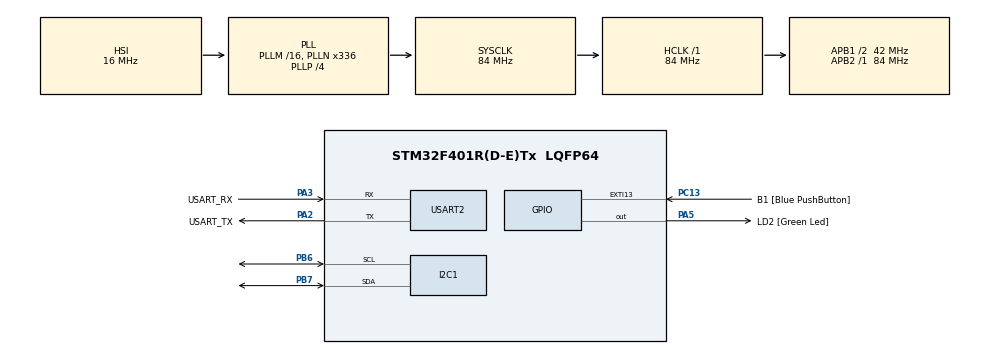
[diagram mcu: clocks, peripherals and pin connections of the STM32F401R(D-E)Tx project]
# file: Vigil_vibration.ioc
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Mcu.Family=STM32F4
Mcu.Name=STM32F401R(D-E)Tx
Mcu.Package=LQFP64
NVIC.PriorityGroup=NVIC_PRIORITYGROUP_4
PA13.GPIO_Label=TMS
PA13.Mode=Trace_Asynchronous_SW
PA13.Signal=SYS_JTMS-SWDIO
PA14.GPIO_Label=TCK
PA14.Mode=Trace_Asynchronous_SW
PA14.Signal=SYS_JTCK-SWCLK
PA2.GPIO_Label=USART_TX
PA2.GPIO_Mode=GPIO_MODE_AF_PP
PA2.GPIO_PuPd=GPIO_NOPULL
PA2.GPIO_Speed=GPIO_SPEED_FREQ_LOW
PA2.Mode=Asynchronous
PA2.Signal=USART2_TX
PA3.GPIO_Label=USART_RX
PA3.GPIO_Mode=GPIO_MODE_AF_PP
PA3.GPIO_PuPd=GPIO_NOPULL
PA3.GPIO_Speed=GPIO_SPEED_FREQ_LOW
PA3.Mode=Asynchronous
PA3.Signal=USART2_RX
PA5.GPIO_Label=LD2 [Green Led]
PA5.GPIO_Mode=GPIO_MODE_OUTPUT_PP
PA5.GPIO_PuPd=GPIO_NOPULL
PA5.GPIO_Speed=GPIO_SPEED_FREQ_LOW
PA5.Signal=GPIO_Output
PB3.GPIO_Label=SWO
PB3.Mode=Trace_Asynchronous_SW
PB3.Signal=SYS_JTDO-SWO
PB6.Mode=I2C
PB6.Signal=I2C1_SCL
PB7.Mode=I2C
PB7.Signal=I2C1_SDA
PC13-ANTI_TAMP.GPIO_Label=B1 [Blue PushButton]
PC13-ANTI_TAMP.GPIO_ModeDefaultEXTI=GPIO_MODE_IT_FALLING
PC13-ANTI_TAMP.GPIO_PuPd=GPIO_NOPULL
PC13-ANTI_TAMP.Signal=GPXTI13
PC14-OSC32_IN.Mode=LSE-External-Oscillator
PC14-OSC32_IN.Signal=RCC_OSC32_IN
PC15-OSC32_OUT.Mode=LSE-External-Oscillator
PC15-OSC32_OUT.Signal=RCC_OSC32_OUT
PH0\ -\ OSC_IN.Mode=HSE-External-Clock-Source
PH0\ -\ OSC_IN.Signal=RCC_OSC_IN
PH1\ -\ OSC_OUT.Mode=HSE-External-Clock-Source
PH1\ -\ OSC_OUT.Signal=RCC_OSC_OUT
ProjectManager.HeapSize=0x200
ProjectManager.StackSize=0x400
ProjectManager.TargetToolchain=EWARM V8.50
RCC.48MHZClocksFreq_Value=48000000
RCC.AHBFreq_Value=84000000
RCC.APB1CLKDivider=RCC_HCLK_DIV2
RCC.APB1Freq_Value=42000000
RCC.APB1TimFreq_Value=84000000
RCC.APB2Freq_Value=84000000
RCC.APB2TimFreq_Value=84000000
RCC.CortexFreq_Value=84000000
RCC.HCLKFreq_Value=84000000
RCC.HSE_VALUE=8000000
RCC.HSI_VALUE=16000000
RCC.PLLN=336
RCC.PLLP=RCC_PLLP_DIV4
RCC.PLLQ=7
RCC.SYSCLKFreq_VALUE=84000000
RCC.SYSCLKSource=RCC_SYSCLKSOURCE_PLLCLK
RCC.VCOOutputFreq_Value=336000000
USART2.VirtualMode=VM_ASYNC
board=NUCLEO-F401RE

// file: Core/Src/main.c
/* USER CODE BEGIN Header */
/**
  ******************************************************************************
  * @file           : main.c
  * @brief          : Main program body
  ******************************************************************************
  * @attention
  *
  * Copyright (c) 2026 STMicroelectronics.
  * All rights reserved.
  *
  * This software is licensed under terms that can be found in the LICENSE file
  * in the root directory of this software component.
  * If no LICENSE file comes with this software, it is provided AS-IS.
  *
  ******************************************************************************
  */
/* USER CODE END Header */
#include "main.h"
#include <stdio.h>
#include <string.h>
/* USER CODE BEGIN Includes */
#define ADXL345_ADDR (0x53 << 1)

uint8_t buffer[6];
uint8_t data;
char tx[64];

int16_t x, y, z;

/* USER CODE END Includes */

I2C_HandleTypeDef hi2c1;

UART_HandleTypeDef huart2;

void SystemClock_Config(void);
static void MX_GPIO_Init(void);
static void MX_I2C1_Init(void);
static void MX_USART2_UART_Init(void);

int main(void)
{

  /* MCU Configuration--------------------------------------------------------*/

  /* Reset of all peripherals, Initializes the Flash interface and the Systick. */
  HAL_Init();

  /* Configure the system clock */
  SystemClock_Config();

  /* Initialize all configured peripherals */
  MX_GPIO_Init();
  MX_I2C1_Init();
  MX_USART2_UART_Init();
  /* USER CODE BEGIN 2 */
  HAL_StatusTypeDef status;

  char msg[] = "BOOT OK\r\n";

  status = HAL_UART_Transmit(&huart2,
                             (uint8_t*)msg,
                             sizeof(msg)-1,
                             1000);

  if(status != HAL_OK)
  {
      HAL_GPIO_WritePin(GPIOA, GPIO_PIN_5, GPIO_PIN_SET);

      while(1);
  }
  // POWER_CTL = 0x2D
  data = 0x08;   // Measurement mode
  HAL_I2C_Mem_Write(&hi2c1,
                    ADXL345_ADDR,
                    0x2D,
                    I2C_MEMADD_SIZE_8BIT,
                    &data,
                    1,
                    HAL_MAX_DELAY);

  // DATA_FORMAT = 0x31
  data = 0x08;   // Full Resolution ±2g
  HAL_I2C_Mem_Write(&hi2c1,
                    ADXL345_ADDR,
                    0x31,
                    I2C_MEMADD_SIZE_8BIT,
                    &data,
                    1,
                    HAL_MAX_DELAY);

  sprintf(tx,"ADXL345 Ready\r\n");
  HAL_UART_Transmit(&huart2,(uint8_t*)tx,strlen(tx),HAL_MAX_DELAY);
  /* USER CODE END 2 */

  /* Infinite loop */
  /* USER CODE BEGIN WHILE */
  while (1)
  {
	    HAL_GPIO_TogglePin(GPIOA, GPIO_PIN_5);

	    char msg[] = "HELLO\r\n";

	    HAL_UART_Transmit(&huart2,
	                      (uint8_t*)msg,
	                      strlen(msg),
	                      HAL_MAX_DELAY);

	    HAL_Delay(1000);
  }
  /* USER CODE END 3 */
}

void SystemClock_Config(void)
{
  RCC_OscInitTypeDef RCC_OscInitStruct = {0};
  RCC_ClkInitTypeDef RCC_ClkInitStruct = {0};

  /** Configure the main internal regulator output voltage
  */
  __HAL_RCC_PWR_CLK_ENABLE();
  __HAL_PWR_VOLTAGESCALING_CONFIG(PWR_REGULATOR_VOLTAGE_SCALE2);

  /** Initializes the RCC Oscillators according to the specified parameters
  * in the RCC_OscInitTypeDef structure.
  */
  RCC_OscInitStruct.OscillatorType = RCC_OSCILLATORTYPE_HSI;
  RCC_OscInitStruct.HSIState = RCC_HSI_ON;
  RCC_OscInitStruct.HSICalibrationValue = RCC_HSICALIBRATION_DEFAULT;
  RCC_OscInitStruct.PLL.PLLState = RCC_PLL_ON;
  RCC_OscInitStruct.PLL.PLLSource = RCC_PLLSOURCE_HSI;
  RCC_OscInitStruct.PLL.PLLM = 16;
  RCC_OscInitStruct.PLL.PLLN = 336;
  RCC_OscInitStruct.PLL.PLLP = RCC_PLLP_DIV4;
  RCC_OscInitStruct.PLL.PLLQ = 7;
  if (HAL_RCC_OscConfig(&RCC_OscInitStruct) != HAL_OK)
  {
    Error_Handler();
  }

  /** Initializes the CPU, AHB and APB buses clocks
  */
  RCC_ClkInitStruct.ClockType = RCC_CLOCKTYPE_HCLK|RCC_CLOCKTYPE_SYSCLK
                              |RCC_CLOCKTYPE_PCLK1|RCC_CLOCKTYPE_PCLK2;
  RCC_ClkInitStruct.SYSCLKSource = RCC_SYSCLKSOURCE_PLLCLK;
  RCC_ClkInitStruct.AHBCLKDivider = RCC_SYSCLK_DIV1;
  RCC_ClkInitStruct.APB1CLKDivider = RCC_HCLK_DIV2;
  RCC_ClkInitStruct.APB2CLKDivider = RCC_HCLK_DIV1;

  if (HAL_RCC_ClockConfig(&RCC_ClkInitStruct, FLASH_LATENCY_2) != HAL_OK)
  {
    Error_Handler();
  }
}

/**
  * @brief I2C1 Initialization Function
  * @param None
  * @retval None
  *//* USER CODE BEGIN Header */
/**
  ******************************************************************************
  * @file           : main.c
  * @brief          : Main program body
  ******************************************************************************
  * @attention
  *
  * Copyright (c) 2026 STMicroelectronics.
  * All rights reserved.
  *
  * This software is licensed under terms that can be found in the LICENSE file
  * in the root directory of this software component.
  * If no LICENSE file comes with this software, it is provided AS-IS.
  *
  ******************************************************************************
  */
/* USER CODE END Header */
#include "main.h"
#include <stdio.h>
#include <string.h>
/* USER CODE BEGIN Includes */
#define ADXL345_ADDR (0x53 << 1)

uint8_t buffer[6];
uint8_t data;
char tx[64];

int16_t x, y, z;

/* USER CODE END Includes */

I2C_HandleTypeDef hi2c1;

UART_HandleTypeDef huart2;

void SystemClock_Config(void);
static void MX_GPIO_Init(void);
static void MX_I2C1_Init(void);
static void MX_USART2_UART_Init(void);

int main(void)
{

  /* MCU Configuration--------------------------------------------------------*/

  /* Reset of all peripherals, Initializes the Flash interface and the Systick. */
  HAL_Init();

  /* Configure the system clock */
  SystemClock_Config();

  /* Initialize all configured peripherals */
  MX_GPIO_Init();
  MX_I2C1_Init();
  MX_USART2_UART_Init();
  /* USER CODE BEGIN 2 */
  HAL_StatusTypeDef status;

  char msg[] = "BOOT OK\r\n";
  status = HAL_UART_Transmit(&huart2, (uint8_t*)msg, sizeof(msg) - 1, 1000);
  if (status != HAL_OK)
  {
    HAL_GPIO_WritePin(GPIOA, GPIO_PIN_5, GPIO_PIN_SET);
    while (1) {}
  }

  /* ADXL345: set data rate to 3200 Hz (DATA_RATE = 0x0F). */
  data = 0x0F;
  if (HAL_I2C_Mem_Write(&hi2c1, ADXL345_ADDR, 0x2C,
                        I2C_MEMADD_SIZE_8BIT, &data, 1, 100) != HAL_OK)
  {
    snprintf(tx, sizeof(tx), "ADXL345 data-rate write failed\r\n");
    HAL_UART_Transmit(&huart2, (uint8_t*)tx, strlen(tx), 1000);
  }

  /* POWER_CTL = 0x08: measurement mode. */
  data = 0x08;
  if (HAL_I2C_Mem_Write(&hi2c1, ADXL345_ADDR, 0x2D,
                        I2C_MEMADD_SIZE_8BIT, &data, 1, 100) != HAL_OK)
  {
    snprintf(tx, sizeof(tx), "ADXL345 power-control write failed\r\n");
    HAL_UART_Transmit(&huart2, (uint8_t*)tx, strlen(tx), 1000);
  }

  /* DATA_FORMAT = 0x08: full resolution, +/-2 g. */
  data = 0x08;
  if (HAL_I2C_Mem_Write(&hi2c1, ADXL345_ADDR, 0x31,
                        I2C_MEMADD_SIZE_8BIT, &data, 1, 100) != HAL_OK)
  {
    snprintf(tx, sizeof(tx), "ADXL345 data-format write failed\r\n");
    HAL_UART_Transmit(&huart2, (uint8_t*)tx, strlen(tx), 1000);
  }

  snprintf(tx, sizeof(tx), "ADXL345 Ready\r\n");
  HAL_UART_Transmit(&huart2, (uint8_t*)tx, strlen(tx), 1000);
  /* USER CODE END 2 */

  /* Infinite loop */
  /* USER CODE BEGIN WHILE */
  while (1)
  {
    /*
     * Read 6 bytes beginning at DATAX0 (0x32).
     * HAL_I2C_Mem_Read performs the register-address write and repeated-start read.
     */
    status = HAL_I2C_Mem_Read(&hi2c1, ADXL345_ADDR, 0x32,
                              I2C_MEMADD_SIZE_8BIT, buffer, 6, 100);

    if (status == HAL_OK)
    {
      x = (int16_t)((uint16_t)buffer[0] | ((uint16_t)buffer[1] << 8));
      y = (int16_t)((uint16_t)buffer[2] | ((uint16_t)buffer[3] << 8));
      z = (int16_t)((uint16_t)buffer[4] | ((uint16_t)buffer[5] << 8));

      snprintf(tx, sizeof(tx), "%d,%d,%d\r\n", (int)x, (int)y, (int)z);
      HAL_UART_Transmit(&huart2, (uint8_t*)tx, strlen(tx), 100);
    }
    else
    {
      /* Report an I2C failure occasionally rather than silently hanging. */
      snprintf(tx, sizeof(tx), "I2C read error: %d\r\n", (int)status);
      HAL_UART_Transmit(&huart2, (uint8_t*)tx, strlen(tx), 100);
      HAL_Delay(10);
    }

    /*
     * This delay is only an approximate pacing delay. It does not guarantee
     * a 1 kHz sample rate; use a timer/interrupt or timer-triggered DMA for that.
     */
    HAL_Delay(1);
  }
  /* USER CODE END 3 */
}

void SystemClock_Config(void)
{
  RCC_OscInitTypeDef RCC_OscInitStruct = {0};
  RCC_ClkInitTypeDef RCC_ClkInitStruct = {0};

  /** Configure the main internal regulator output voltage
  */
  __HAL_RCC_PWR_CLK_ENABLE();
  __HAL_PWR_VOLTAGESCALING_CONFIG(PWR_REGULATOR_VOLTAGE_SCALE2);

  /** Initializes the RCC Oscillators according to the specified parameters
  * in the RCC_OscInitTypeDef structure.
  */
  RCC_OscInitStruct.OscillatorType = RCC_OSCILLATORTYPE_HSI;
  RCC_OscInitStruct.HSIState = RCC_HSI_ON;
  RCC_OscInitStruct.HSICalibrationValue = RCC_HSICALIBRATION_DEFAULT;
  RCC_OscInitStruct.PLL.PLLState = RCC_PLL_ON;
  RCC_OscInitStruct.PLL.PLLSource = RCC_PLLSOURCE_HSI;
  RCC_OscInitStruct.PLL.PLLM = 16;
  RCC_OscInitStruct.PLL.PLLN = 336;
  RCC_OscInitStruct.PLL.PLLP = RCC_PLLP_DIV4;
  RCC_OscInitStruct.PLL.PLLQ = 7;
  if (HAL_RCC_OscConfig(&RCC_OscInitStruct) != HAL_OK)
  {
    Error_Handler();
  }

  /** Initializes the CPU, AHB and APB buses clocks
  */
  RCC_ClkInitStruct.ClockType = RCC_CLOCKTYPE_HCLK|RCC_CLOCKTYPE_SYSCLK
                              |RCC_CLOCKTYPE_PCLK1|RCC_CLOCKTYPE_PCLK2;
  RCC_ClkInitStruct.SYSCLKSource = RCC_SYSCLKSOURCE_PLLCLK;
  RCC_ClkInitStruct.AHBCLKDivider = RCC_SYSCLK_DIV1;
  RCC_ClkInitStruct.APB1CLKDivider = RCC_HCLK_DIV2;
  RCC_ClkInitStruct.APB2CLKDivider = RCC_HCLK_DIV1;

  if (HAL_RCC_ClockConfig(&RCC_ClkInitStruct, FLASH_LATENCY_2) != HAL_OK)
  {
    Error_Handler();
  }
}

static void MX_I2C1_Init(void)
{

  hi2c1.Instance = I2C1;
  hi2c1.Init.ClockSpeed = 100000;
  hi2c1.Init.DutyCycle = I2C_DUTYCYCLE_2;
  hi2c1.Init.OwnAddress1 = 0;
  hi2c1.Init.AddressingMode = I2C_ADDRESSINGMODE_7BIT;
  hi2c1.Init.DualAddressMode = I2C_DUALADDRESS_DISABLE;
  hi2c1.Init.OwnAddress2 = 0;
  hi2c1.Init.GeneralCallMode = I2C_GENERALCALL_DISABLE;
  hi2c1.Init.NoStretchMode = I2C_NOSTRETCH_DISABLE;
  if (HAL_I2C_Init(&hi2c1) != HAL_OK)
  {
    Error_Handler();
  }

}

static void MX_USART2_UART_Init(void)
{

  huart2.Instance = USART2;
  huart2.Init.BaudRate = 115200;
  huart2.Init.WordLength = UART_WORDLENGTH_8B;
  huart2.Init.StopBits = UART_STOPBITS_1;
  huart2.Init.Parity = UART_PARITY_NONE;
  huart2.Init.Mode = UART_MODE_TX_RX;
  huart2.Init.HwFlowCtl = UART_HWCONTROL_NONE;
  huart2.Init.OverSampling = UART_OVERSAMPLING_16;
  if (HAL_UART_Init(&huart2) != HAL_OK)
  {
    Error_Handler();
  }

}

static void MX_GPIO_Init(void)
{
  GPIO_InitTypeDef GPIO_InitStruct = {0};

  /* GPIO Ports Clock Enable */
  __HAL_RCC_GPIOC_CLK_ENABLE();
  __HAL_RCC_GPIOH_CLK_ENABLE();
  __HAL_RCC_GPIOA_CLK_ENABLE();
  __HAL_RCC_GPIOB_CLK_ENABLE();

  /*Configure GPIO pin Output Level */
  HAL_GPIO_WritePin(LD2_GPIO_Port, LD2_Pin, GPIO_PIN_RESET);

  /*Configure GPIO pin : B1_Pin */
  GPIO_InitStruct.Pin = B1_Pin;
  GPIO_InitStruct.Mode = GPIO_MODE_IT_FALLING;
  GPIO_InitStruct.Pull = GPIO_NOPULL;
  HAL_GPIO_Init(B1_GPIO_Port, &GPIO_InitStruct);

  /*Configure GPIO pin : LD2_Pin */
  GPIO_InitStruct.Pin = LD2_Pin;
  GPIO_InitStruct.Mode = GPIO_MODE_OUTPUT_PP;
  GPIO_InitStruct.Pull = GPIO_NOPULL;
  GPIO_InitStruct.Speed = GPIO_SPEED_FREQ_LOW;
  HAL_GPIO_Init(LD2_GPIO_Port, &GPIO_InitStruct);

}

void Error_Handler(void)
{
  __disable_irq();
  while (1)
  {
  }
}

static void MX_I2C1_Init(void)
{

  hi2c1.Instance = I2C1;
  hi2c1.Init.ClockSpeed = 100000;
  hi2c1.Init.DutyCycle = I2C_DUTYCYCLE_2;
  hi2c1.Init.OwnAddress1 = 0;
  hi2c1.Init.AddressingMode = I2C_ADDRESSINGMODE_7BIT;
  hi2c1.Init.DualAddressMode = I2C_DUALADDRESS_DISABLE;
  hi2c1.Init.OwnAddress2 = 0;
  hi2c1.Init.GeneralCallMode = I2C_GENERALCALL_DISABLE;
  hi2c1.Init.NoStretchMode = I2C_NOSTRETCH_DISABLE;
  if (HAL_I2C_Init(&hi2c1) != HAL_OK)
  {
    Error_Handler();
  }

}

static void MX_USART2_UART_Init(void)
{

  huart2.Instance = USART2;
  huart2.Init.BaudRate = 115200;
  huart2.Init.WordLength = UART_WORDLENGTH_8B;
  huart2.Init.StopBits = UART_STOPBITS_1;
  huart2.Init.Parity = UART_PARITY_NONE;
  huart2.Init.Mode = UART_MODE_TX_RX;
  huart2.Init.HwFlowCtl = UART_HWCONTROL_NONE;
  huart2.Init.OverSampling = UART_OVERSAMPLING_16;
  if (HAL_UART_Init(&huart2) != HAL_OK)
  {
    Error_Handler();
  }

}

static void MX_GPIO_Init(void)
{
  GPIO_InitTypeDef GPIO_InitStruct = {0};

  /* GPIO Ports Clock Enable */
  __HAL_RCC_GPIOC_CLK_ENABLE();
  __HAL_RCC_GPIOH_CLK_ENABLE();
  __HAL_RCC_GPIOA_CLK_ENABLE();
  __HAL_RCC_GPIOB_CLK_ENABLE();

  /*Configure GPIO pin Output Level */
  HAL_GPIO_WritePin(LD2_GPIO_Port, LD2_Pin, GPIO_PIN_RESET);

  /*Configure GPIO pin : B1_Pin */
  GPIO_InitStruct.Pin = B1_Pin;
  GPIO_InitStruct.Mode = GPIO_MODE_IT_FALLING;
  GPIO_InitStruct.Pull = GPIO_NOPULL;
  HAL_GPIO_Init(B1_GPIO_Port, &GPIO_InitStruct);

  /*Configure GPIO pin : LD2_Pin */
  GPIO_InitStruct.Pin = LD2_Pin;
  GPIO_InitStruct.Mode = GPIO_MODE_OUTPUT_PP;
  GPIO_InitStruct.Pull = GPIO_NOPULL;
  GPIO_InitStruct.Speed = GPIO_SPEED_FREQ_LOW;
  HAL_GPIO_Init(LD2_GPIO_Port, &GPIO_InitStruct);

}

void Error_Handler(void)
{
  __disable_irq();
  while (1)
  {
  }
}
